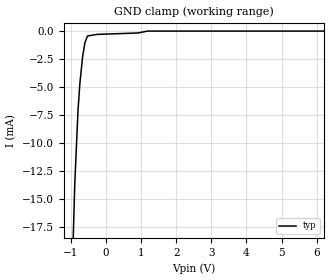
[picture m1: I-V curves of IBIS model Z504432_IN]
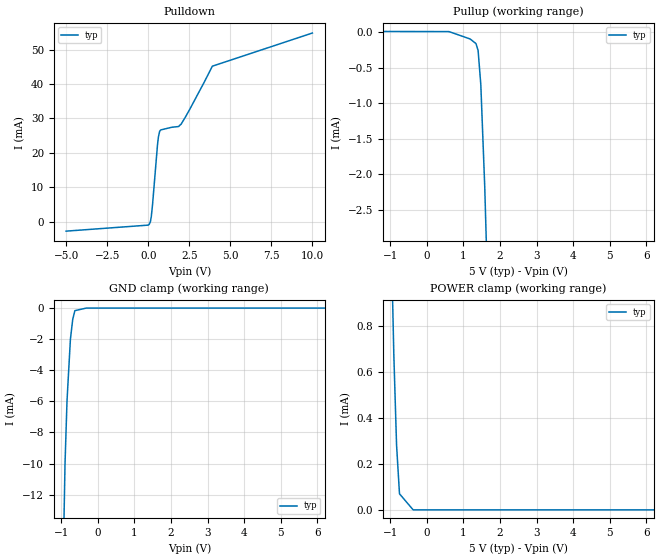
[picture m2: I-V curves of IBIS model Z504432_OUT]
| YOU ARE ONLY AUTHORIZED TO USE THIS SOFTWARE
| ACCORDING TO LICENSOR'S LICENSE RESTRICTIONS.
[IBIS Ver] 3.1
[File Name] sn54ls27j.ibs
[File Rev] 2.0
[Source] Measured and created by ICX Technology
[Date] Friday 7/14/00 9:08:14 AM
[Copyright]
| (C) COPYRIGHT 1993-2000
| MENTOR GRAPHICS CORPORATION
| ICX STANDARD LIBRARY, ICX PROJECT MODELING,
| ICX CUSTOM MODELING, ICX VENDOR MODEL
| ALL RIGHTS RESERVED.
| THE FOLLOWING ARE TRADEMARKS OR SERVICE MARKS OF
| MENTOR GRAPHICS CORPORATION:ICX (R), ICX STANDARD
| LIBRARY(R), ICX PROJECT MODELING(R), ICX CUSTOM
| MODELING(R), qualityIBIS(TM), MODELVIEWER(TM),
| AND MODELEDITOR(TM)
| ALL COPIES OF SOFTWARE, INCLUDING BUT NOT LIMITED TO
| ANY MODIFICATIONS, ENHANCEMENTS OR DERIVATIVE WORKS,
| MUST CONTAIN ALL MENTOR GRAPHICS CORPORATION'S
| NOTICES AND LEGENDS, INCLUDING THOSE EMBEDDED IN
| SOFTWARE AND THOSE AFFIXED TO SOFTWARE MEDIUM
| AND CONTAINER, AS RECEIVED FROM MENTOR GRAPHICS
| CORPORATION.
|  ZAP Model Builder 2.7
[Component] SN54LS27J
[Manufacturer] OnSemiconductor
[Package]
| variable   typ   min   max
R_pkg  .21ohms NA NA
L_pkg  4.543nH NA NA
C_pkg  1.8pF NA NA
[Pin] signal_name  model_name  R_pin  L_pin C_pin
1 A Z504432_IN .22 6.757n 2.434p
2 B Z504432_IN .212 4.757n 1.941p
3 A Z504432_IN .204 3.257n 1.448p
4 B Z504432_IN .196 2.257n .955p
5 C Z504432_IN .204 3.257n 1.448p
6 Y Z504432_OUT .212 4.757n 1.941p
7 GND GND .22 6.757n 2.434p
8 Y Z504432_OUT .22 6.757n 2.434p
9 A Z504432_IN .212 4.757n 1.941p
10 B Z504432_IN .204 3.257n 1.448p
11 C Z504432_IN .196 2.257n .955p
12 Y Z504432_OUT .204 3.257n 1.448p
13 C Z504432_IN .212 4.757n 1.941p
14 VCC POWER .22 6.757n 2.434p
| Models and submodels in the file (2): Z504432_IN (Input), Z504432_OUT (Output)
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| (C) COPYRIGHT 1993-2000
| MENTOR GRAPHICS CORPORATION
| ICX STANDARD LIBRARY, ICX PROJECT MODELING,
| ICX CUSTOM MODELING, ICX VENDOR MODEL
| ALL RIGHTS RESERVED.
| THE FOLLOWING ARE TRADEMARKS OR SERVICE MARKS OF
| MENTOR GRAPHICS CORPORATION:ICX (R), ICX STANDARD
| LIBRARY(R), ICX PROJECT MODELING(R), ICX CUSTOM
| MODELING(R), qualityIBIS(TM), MODELVIEWER(TM),
| AND MODELEDITOR(TM)
| ALL COPIES OF SOFTWARE, INCLUDING BUT NOT LIMITED TO
| ANY MODIFICATIONS, ENHANCEMENTS OR DERIVATIVE WORKS,
| MUST CONTAIN ALL MENTOR GRAPHICS CORPORATION'S
| NOTICES AND LEGENDS, INCLUDING THOSE EMBEDDED IN
| SOFTWARE AND THOSE AFFIXED TO SOFTWARE MEDIUM
| AND CONTAINER, AS RECEIVED FROM MENTOR GRAPHICS
| CORPORATION.
| Model Application Version 1.89 2/18/99.
[Model] Z504432_IN
Model_type Input
Vinl = 800.0mV
Vinh = 2.000V
C_comp 4.000pF NA NA
| variable typ   min   max
[Voltage Range] 5.000V NA NA
[GND Clamp Reference] 0.000V NA NA
[POWER Clamp Reference] 5.000V NA NA
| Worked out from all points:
|   GND clamp passes 1 mA (typ) near -0.59 V on its own axis
[GND Clamp]
-5V       -467.1mA   NA         NA
-888.7mV  -13.66mA   NA         NA
-795.4mV  -7.057mA   NA         NA
-742.1mV  -4.643mA   NA         NA
-663.7mV  -2.26mA    NA         NA
-598.3mV  -1.027mA   NA         NA
-527.3mV  -446.1uA   NA         NA
-263.7mV  -301.2uA   NA         NA
908mV     -174.5uA   NA         NA
1.187V    -5.491uA   NA         NA
10V       -5.491uA   NA         NA
[POWER Clamp]
-5V       0A         NA         NA
10V       0A         NA         NA
| (C) COPYRIGHT 1993-2000
| MENTOR GRAPHICS CORPORATION
| ICX STANDARD LIBRARY, ICX PROJECT MODELING,
| ICX CUSTOM MODELING, ICX VENDOR MODEL
| ALL RIGHTS RESERVED.
| THE FOLLOWING ARE TRADEMARKS OR SERVICE MARKS OF
| MENTOR GRAPHICS CORPORATION:ICX (R), ICX STANDARD
| LIBRARY(R), ICX PROJECT MODELING(R), ICX CUSTOM
| MODELING(R), qualityIBIS(TM), MODELVIEWER(TM),
| AND MODELEDITOR(TM)
| ALL COPIES OF SOFTWARE, INCLUDING BUT NOT LIMITED TO
| ANY MODIFICATIONS, ENHANCEMENTS OR DERIVATIVE WORKS,
| MUST CONTAIN ALL MENTOR GRAPHICS CORPORATION'S
| NOTICES AND LEGENDS, INCLUDING THOSE EMBEDDED IN
| SOFTWARE AND THOSE AFFIXED TO SOFTWARE MEDIUM
| AND CONTAINER, AS RECEIVED FROM MENTOR GRAPHICS
| CORPORATION.
| Model Application Version 1.89 2/18/99.
[Model] Z504432_OUT
Model_type Output
Vref=5.000V
Rref=2.000kohms
Cref=15.00pF
Vmeas=1.300V
C_comp 8.000pF NA NA
| variable typ   min   max
[Voltage Range] 5.000V NA NA
[POWER Clamp Reference] 5.000V NA NA
[Pullup Reference] 5.000V NA NA
[Pulldown Reference] 0.000V NA NA
[GND Clamp Reference] 0.000V NA NA
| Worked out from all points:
|   slope of the pulldown table from 0 to 0.75 V, typ, clamps not added: 27.2 ohm
|   slope of the pullup table from 0 to 0.75 V, typ, clamps not added: 28.2 kohm
|   GND clamp passes 1 mA (typ) near -0.70 V on its own axis
|   POWER clamp passes 1 mA (typ) near -0.95 V on its own axis
[GND Clamp]
-5V       -958.8mA   NA         NA
-1.199V   -59.7mA    NA         NA
-1.035V   -27.77mA   NA         NA
-893.6mV  -9.985mA   NA         NA
-839.8mV  -5.971mA   NA         NA
-746.7mV  -2mA       NA         NA
-683.6mV  -728.8uA   NA         NA
-625mV    -165.3uA   NA         NA
-312.5mV  0A         NA         NA
10V       0A         NA         NA
[Pulldown]
-5V       -2.711mA   NA         NA
9.766mV   -958.7uA   NA         NA
131.9mV   -14.53uA   NA         NA
188.6mV   1.507mA    NA         NA
263.7mV   4.949mA    NA         NA
566.4mV   22.37mA    NA         NA
620.8mV   24.6mA     NA         NA
698mV     26.29mA    NA         NA
1.855V    27.66mA    NA         NA
1.994V    28.27mA    NA         NA
3.908V    45.17mA    NA         NA
10V       54.79mA    NA         NA
[Pullup]
-5V       11.12uA    NA         NA
605mV     5.209uA    NA         NA
1.182V    -98.22uA   NA         NA
1.343V    -163uA     NA         NA
1.401V    -261.1uA   NA         NA
1.475V    -740.6uA   NA         NA
1.582V    -2.171mA   NA         NA
10V       -153.4mA   NA         NA
[POWER Clamp]
-5V       34.59mA    NA         NA
-1.035V   1.624mA    NA         NA
-902mV    674.5uA    NA         NA
-827mV    281.1uA    NA         NA
-747mV    69.72uA    NA         NA
-373.5mV  0A         NA         NA
10V       0A         NA         NA
[Ramp]
| variable typ min max
dV/dt_r 1.844/10.83n NA NA
dV/dt_f 1.844/1.865n NA NA
R_load = 500.0Ohms
